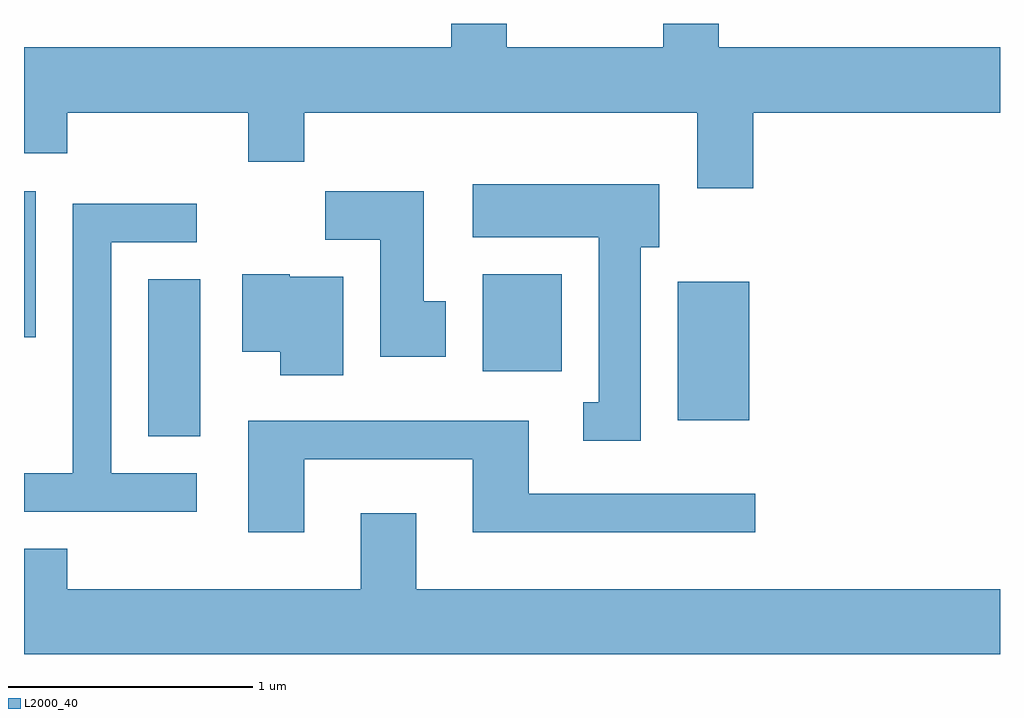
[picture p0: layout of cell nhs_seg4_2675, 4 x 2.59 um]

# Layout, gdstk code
import gdstk
lib = gdstk.Library(unit=1e-6, precision=1e-09)
def R(c, l, rs):  # rectangles x0, y0, x1, y1
    for r in rs: c.add(gdstk.rectangle(r[:2], r[2:], *l))
def P(c, l, *ps):  # polygons
    for p in ps: c.add(gdstk.Polygon(p, *l))
L2000_40 = (2000, 40)

nhs_seg4_2675 = lib.new_cell('nhs_seg4_2675')
R(nhs_seg4_2675, L2000_40, [(264.121,1302.291,264.334,1302.934), (266.291,1302.356,266.584,1302.924), (265.491,1302.556,265.814,1302.954), (263.611,1302.696,263.659,1303.294)])
P(nhs_seg4_2675, L2000_40, [(266.599,1303.616),(267.611,1303.616),(267.611,1303.884),(266.459,1303.884),(266.459,1303.982),(266.231,1303.982),(266.231,1303.884),(265.589,1303.884),(265.589,1303.982),(265.361,1303.982),(265.361,1303.884),(263.611,1303.884),(263.611,1303.451),(263.789,1303.451),(263.789,1303.616),(264.531,1303.616),(264.531,1303.416),(264.759,1303.416),(264.759,1303.616),(266.371,1303.616),(266.371,1303.306),(266.599,1303.306)],
  [(266.139,1303.066),(266.214,1303.066),(266.214,1303.324),(265.451,1303.324),(265.451,1303.106),(265.966,1303.106),(265.966,1302.429),(265.903,1302.429),(265.903,1302.271),(266.139,1302.271)],
  [(265.339,1302.844),(265.249,1302.844),(265.249,1303.294),(264.846,1303.294),(264.846,1303.096),(265.071,1303.096),(265.071,1302.616),(265.339,1302.616)],
  [(264.318,1302.139),(263.969,1302.139),(263.969,1303.086),(264.318,1303.086),(264.318,1303.244),(263.811,1303.244),(263.811,1302.139),(263.611,1302.139),(263.611,1301.981),(264.318,1301.981)],
  [(264.919,1302.944),(264.7,1302.944),(264.7,1302.954),(264.506,1302.954),(264.506,1302.636),(264.661,1302.636),(264.661,1302.541),(264.919,1302.541)],
  [(264.759,1302.196),(265.451,1302.196),(265.451,1301.896),(266.608,1301.896),(266.608,1302.054),(265.679,1302.054),(265.679,1302.354),(264.531,1302.354),(264.531,1301.896),(264.759,1301.896)],
  [(267.611,1301.664),(265.219,1301.664),(265.219,1301.974),(264.991,1301.974),(264.991,1301.664),(263.789,1301.664),(263.789,1301.829),(263.611,1301.829),(263.611,1301.396),(267.611,1301.396)])

lib.write_gds('nhs_seg4_2675.gds')
